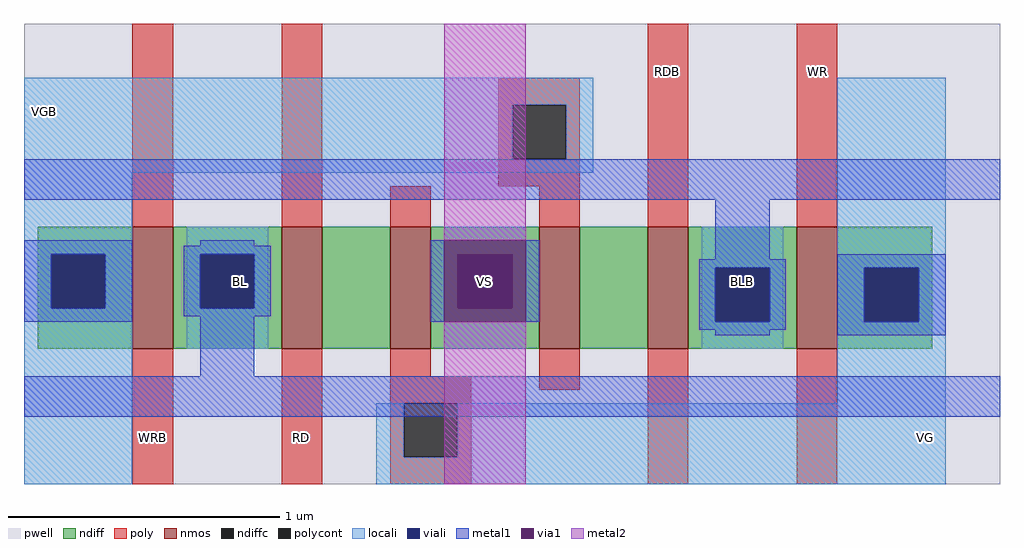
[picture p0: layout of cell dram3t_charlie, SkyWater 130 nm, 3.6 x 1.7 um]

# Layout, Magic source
magic
tech sky130A
<< pwell >>
rect 0 0 360 170
<< nmos >>
rect 40 50 55 95
rect 95 50 110 95
rect 135 50 150 95
rect 190 50 205 95
rect 230 50 245 95
rect 285 50 300 95
<< ndiff >>
rect 5 85 40 95
rect 5 65 10 85
rect 30 65 40 85
rect 5 50 40 65
rect 55 85 95 95
rect 55 65 65 85
rect 85 65 95 85
rect 55 50 95 65
rect 110 50 135 95
rect 150 85 190 95
rect 150 65 160 85
rect 180 65 190 85
rect 150 50 190 65
rect 205 50 230 95
rect 245 80 285 95
rect 245 60 255 80
rect 275 60 285 80
rect 245 50 285 60
rect 300 80 335 95
rect 300 60 310 80
rect 330 60 335 80
rect 300 50 335 60
<< ndiffc >>
rect 10 65 30 85
rect 65 65 85 85
rect 160 65 180 85
rect 255 60 275 80
rect 310 60 330 80
<< poly >>
rect 40 95 55 170
rect 95 95 110 170
rect 175 140 205 150
rect 175 120 180 140
rect 200 120 205 140
rect 175 110 205 120
rect 135 95 150 110
rect 190 95 205 110
rect 230 95 245 170
rect 285 95 300 170
rect 40 0 55 50
rect 95 0 110 50
rect 135 40 150 50
rect 135 30 165 40
rect 190 35 205 50
rect 135 10 140 30
rect 160 10 165 30
rect 135 0 165 10
rect 230 0 245 50
rect 285 0 300 50
<< polycont >>
rect 180 120 200 140
rect 140 10 160 30
<< locali >>
rect 0 140 210 150
rect 0 120 180 140
rect 200 120 210 140
rect 0 115 210 120
rect 0 85 40 115
rect 0 65 10 85
rect 30 65 40 85
rect 0 0 40 65
rect 60 85 90 95
rect 60 65 65 85
rect 85 65 90 85
rect 60 50 90 65
rect 155 85 185 95
rect 155 65 160 85
rect 180 65 185 85
rect 155 50 185 65
rect 250 80 280 95
rect 250 60 255 80
rect 275 60 280 80
rect 250 50 280 60
rect 300 80 340 150
rect 300 60 310 80
rect 330 60 340 80
rect 300 30 340 60
rect 130 10 140 30
rect 160 10 340 30
rect 130 0 340 10
<< viali >>
rect 10 65 30 85
rect 65 65 85 85
rect 160 65 180 85
rect 255 60 275 80
rect 310 60 330 80
<< metal1 >>
rect 0 105 360 120
rect 0 85 40 90
rect 65 88 85 90
rect 0 65 10 85
rect 30 65 40 85
rect 0 60 40 65
rect 59 85 91 88
rect 59 65 65 85
rect 85 65 91 85
rect 59 62 91 65
rect 65 40 85 62
rect 150 60 155 90
rect 185 60 190 90
rect 255 83 275 105
rect 249 80 281 83
rect 249 60 255 80
rect 275 60 281 80
rect 249 57 281 60
rect 300 80 340 85
rect 300 60 310 80
rect 330 60 340 80
rect 255 55 275 57
rect 300 55 340 60
rect 0 25 360 40
<< via1 >>
rect 155 85 185 90
rect 155 65 160 85
rect 160 65 180 85
rect 180 65 185 85
rect 155 60 185 65
<< metal2 >>
rect 155 90 185 170
rect 155 0 185 60
<< labels >>
flabel ndiffc 160 65 180 85 0 FreeSans 80 90 0 0 VS
flabel ndiff 70 65 90 85 0 FreeSans 80 90 0 0 BL
flabel ndiff 255 65 275 85 0 FreeSans 80 90 0 0 BLB
flabel poly 230 145 245 160 0 FreeSans 80 90 0 0 RDB
flabel poly 95 10 110 25 0 FreeSans 80 90 0 0 RD
flabel poly 285 145 300 160 0 FreeSans 80 90 0 0 WR
flabel poly 40 10 55 25 0 FreeSans 80 90 0 0 WRB
flabel locali 0 130 15 145 0 FreeSans 80 90 0 0 VGB
flabel locali 325 10 340 25 0 FreeSans 80 90 0 0 VG
<< properties >>
string FIXED_BBOX 0 0 360 170
string gencell sky130_fd_pr__nfet_01v8
string library sky130
string parameters w 0.420 l 0.150 m 1 nf 1 diffcov 100 polycov 100 guard 1 glc 1 grc 1 gtc 1 gbc 1 tbcov 100 rlcov 100 topc 1 botc 1 poverlap 0 doverlap 1 lmin 0.15 wmin 0.42 compatible {sky130_fd_pr__nfet_01v8 sky130_fd_pr__nfet_01v8_lvt  sky130_fd_bs_flash__special_sonosfet_star  sky130_fd_pr__nfet_g5v0d10v5 sky130_fd_pr__nfet_05v0_nvt  sky130_fd_pr__nfet_03v3_nvt} full_metal 1 viasrc 100 viadrn 100 viagate 100 viagb 0 viagr 0 viagl 0 viagt 0
<< end >>
